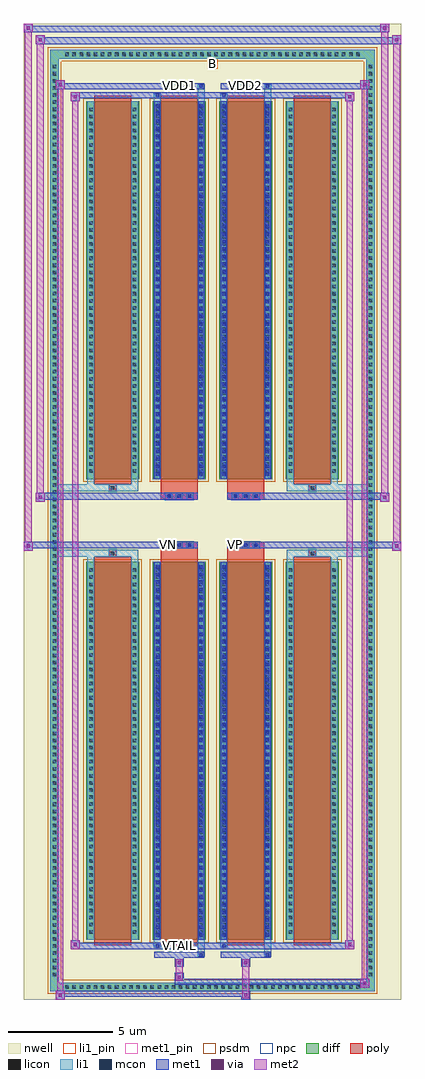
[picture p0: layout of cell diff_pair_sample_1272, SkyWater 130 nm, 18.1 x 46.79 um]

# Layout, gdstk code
import gdstk
lib = gdstk.Library(unit=1e-6, precision=5e-09)
def R(c, l, rs):  # rectangles x0, y0, x1, y1
    for r in rs: c.add(gdstk.rectangle(r[:2], r[2:], *l))
def A(c, l, x, y, w, h, nx, ny, dx, dy):  # array of equal rectangles
    R(c, l, [(x+i*dx, y+j*dy, x+i*dx+w, y+j*dy+h) for i in range(nx) for j in range(ny)])
def P(c, l, *ps):  # polygons
    for p in ps: c.add(gdstk.Polygon(p, *l))
nwell = (64, 20)
diff = (65, 20)
poly = (66, 20)
licon = (66, 44)
li1_pin = (67, 16)
li1 = (67, 20)
mcon = (67, 44)
met1_pin = (68, 16)
met1 = (68, 20)
via = (68, 44)
met2 = (69, 20)
psdm = (94, 20)
npc = (95, 20)

diff_pair_sample_1272 = lib.new_cell('diff_pair_sample_1272')
R(diff_pair_sample_1272, nwell, [(-9.05,-22.96,9.05,23.83), (-6.37,-21.15,-0.01,-0.805), (0.01,-21.15,6.37,-0.805), (-6.37,0.805,-0.01,21.15), (0.01,0.805,6.37,21.15)])
A(diff_pair_sample_1272, diff, -7.175, -22.56, 0.41, 0.41, 42, 2, 0.34, 44.71)
A(diff_pair_sample_1272, diff, -7.78, -21.965, 0.41, 0.41, 1, 129, 0, 0.34)
A(diff_pair_sample_1272, diff, 7.37, -21.965, 0.41, 0.41, 1, 129, 0, 0.34)
A(diff_pair_sample_1272, diff, -6.06, -20.105, 2.55, 18.12, 4, 2, 3.19, 22.09)
R(diff_pair_sample_1272, diff, [(-7.175,-22.56,7.175,-22.15), (-7.78,-21.965,-7.37,21.965), (7.37,-21.965,7.78,21.965), (-7.175,22.15,7.175,22.56)])
P(diff_pair_sample_1272, diff, [(7.78,22.56),(-7.78,22.56),(-7.78,-22.15),(-7.37,-22.15),(-7.37,22.15),(7.37,22.15),(7.37,-22.15),(-7.37,-22.15),(-7.78,-22.15),(-7.78,-22.56),(7.78,-22.56)])
A(diff_pair_sample_1272, poly, -5.67, -20.355, 1.77, 18.62, 4, 2, 3.19, 22.09)
A(diff_pair_sample_1272, poly, -2.26, -1.335, 0.33, 0.33, 3, 2, 0.5, 2.34)
A(diff_pair_sample_1272, poly, 0.93, -1.335, 0.33, 0.33, 3, 2, 0.5, 2.34)
R(diff_pair_sample_1272, poly, [(-4.95,-1.735,-4.62,-1.405), (-4.95,-1.735,-4.62,-1.405), (-2.48,-1.735,-0.71,-1.335), (0.71,-1.735,2.48,-1.335), (4.62,-1.735,4.95,-1.405), (4.62,-1.735,4.95,-1.405), (-2.48,-1.335,-0.71,-1.005), (0.71,-1.335,2.48,-1.005), (-2.48,1.005,-0.71,1.335), (0.71,1.005,2.48,1.335), (-2.48,1.335,-0.71,1.735), (0.71,1.335,2.48,1.735), (-4.95,1.405,-4.62,1.735), (-4.95,1.405,-4.62,1.735), (4.62,1.405,4.95,1.735), (4.62,1.405,4.95,1.735)])
A(diff_pair_sample_1272, licon, -7.055, -22.44, 0.17, 0.17, 42, 2, 0.34, 44.71)
A(diff_pair_sample_1272, licon, -7.66, -21.845, 0.17, 0.17, 1, 129, 0, 0.34)
A(diff_pair_sample_1272, licon, 7.49, -21.845, 0.17, 0.17, 1, 129, 0, 0.34)
A(diff_pair_sample_1272, licon, -5.92, -19.8, 0.17, 0.17, 1, 52, 0, 0.34)
A(diff_pair_sample_1272, licon, -3.82, -19.8, 0.17, 0.17, 1, 52, 0, 0.34)
A(diff_pair_sample_1272, licon, -2.73, -19.8, 0.17, 0.17, 1, 52, 0, 0.34)
A(diff_pair_sample_1272, licon, -0.63, -19.8, 0.17, 0.17, 1, 52, 0, 0.34)
A(diff_pair_sample_1272, licon, 0.46, -19.8, 0.17, 0.17, 1, 52, 0, 0.34)
A(diff_pair_sample_1272, licon, 2.56, -19.8, 0.17, 0.17, 1, 52, 0, 0.34)
A(diff_pair_sample_1272, licon, 3.65, -19.8, 0.17, 0.17, 1, 52, 0, 0.34)
A(diff_pair_sample_1272, licon, 5.75, -19.8, 0.17, 0.17, 1, 52, 0, 0.34)
A(diff_pair_sample_1272, licon, -2.18, -1.255, 0.17, 0.17, 3, 2, 0.5, 2.34)
A(diff_pair_sample_1272, licon, 1.01, -1.255, 0.17, 0.17, 3, 2, 0.5, 2.34)
A(diff_pair_sample_1272, licon, -5.92, 2.29, 0.17, 0.17, 1, 52, 0, 0.34)
A(diff_pair_sample_1272, licon, -3.82, 2.29, 0.17, 0.17, 1, 52, 0, 0.34)
A(diff_pair_sample_1272, licon, -2.73, 2.29, 0.17, 0.17, 1, 52, 0, 0.34)
A(diff_pair_sample_1272, licon, -0.63, 2.29, 0.17, 0.17, 1, 52, 0, 0.34)
A(diff_pair_sample_1272, licon, 0.46, 2.29, 0.17, 0.17, 1, 52, 0, 0.34)
A(diff_pair_sample_1272, licon, 2.56, 2.29, 0.17, 0.17, 1, 52, 0, 0.34)
A(diff_pair_sample_1272, licon, 3.65, 2.29, 0.17, 0.17, 1, 52, 0, 0.34)
A(diff_pair_sample_1272, licon, 5.75, 2.29, 0.17, 0.17, 1, 52, 0, 0.34)
R(diff_pair_sample_1272, licon, [(-4.87,-1.655,-4.7,-1.485), (4.7,-1.655,4.87,-1.485), (-4.87,1.485,-4.7,1.655), (4.7,1.485,4.87,1.655)])
R(diff_pair_sample_1272, li1_pin, [(-0.25,21.65,0.25,22.15)])
A(diff_pair_sample_1272, li1, -7.135, -22.52, 0.33, 0.33, 42, 2, 0.34, 44.71)
A(diff_pair_sample_1272, li1, -7.74, -21.925, 0.33, 0.33, 1, 129, 0, 0.34)
A(diff_pair_sample_1272, li1, 7.41, -21.925, 0.33, 0.33, 1, 129, 0, 0.34)
A(diff_pair_sample_1272, li1, -2.73, -19.95, 0.17, 0.17, 1, 50, 0, 0.36)
A(diff_pair_sample_1272, li1, -0.63, -19.95, 0.17, 0.17, 1, 50, 0, 0.36)
A(diff_pair_sample_1272, li1, 0.46, -19.95, 0.17, 0.17, 1, 50, 0, 0.36)
A(diff_pair_sample_1272, li1, 2.56, -19.95, 0.17, 0.17, 1, 50, 0, 0.36)
A(diff_pair_sample_1272, li1, -6, -19.88, 0.33, 0.33, 1, 52, 0, 0.34)
A(diff_pair_sample_1272, li1, -3.9, -19.88, 0.33, 0.33, 1, 52, 0, 0.34)
A(diff_pair_sample_1272, li1, -2.81, -19.88, 0.33, 0.33, 1, 52, 0, 0.34)
A(diff_pair_sample_1272, li1, -0.71, -19.88, 0.33, 0.33, 1, 52, 0, 0.34)
A(diff_pair_sample_1272, li1, 0.38, -19.88, 0.33, 0.33, 1, 52, 0, 0.34)
A(diff_pair_sample_1272, li1, 2.48, -19.88, 0.33, 0.33, 1, 52, 0, 0.34)
A(diff_pair_sample_1272, li1, 3.57, -19.88, 0.33, 0.33, 1, 52, 0, 0.34)
A(diff_pair_sample_1272, li1, 5.67, -19.88, 0.33, 0.33, 1, 52, 0, 0.34)
A(diff_pair_sample_1272, li1, -2.26, -1.335, 0.33, 0.33, 3, 2, 0.5, 2.34)
A(diff_pair_sample_1272, li1, 0.93, -1.335, 0.33, 0.33, 3, 2, 0.5, 2.34)
A(diff_pair_sample_1272, li1, -2.73, 2.14, 0.17, 0.17, 1, 50, 0, 0.36)
A(diff_pair_sample_1272, li1, -0.63, 2.14, 0.17, 0.17, 1, 50, 0, 0.36)
A(diff_pair_sample_1272, li1, 0.46, 2.14, 0.17, 0.17, 1, 50, 0, 0.36)
A(diff_pair_sample_1272, li1, 2.56, 2.14, 0.17, 0.17, 1, 50, 0, 0.36)
A(diff_pair_sample_1272, li1, -6, 2.21, 0.33, 0.33, 1, 52, 0, 0.34)
A(diff_pair_sample_1272, li1, -3.9, 2.21, 0.33, 0.33, 1, 52, 0, 0.34)
A(diff_pair_sample_1272, li1, -2.81, 2.21, 0.33, 0.33, 1, 52, 0, 0.34)
A(diff_pair_sample_1272, li1, -0.71, 2.21, 0.33, 0.33, 1, 52, 0, 0.34)
A(diff_pair_sample_1272, li1, 0.38, 2.21, 0.33, 0.33, 1, 52, 0, 0.34)
A(diff_pair_sample_1272, li1, 2.48, 2.21, 0.33, 0.33, 1, 52, 0, 0.34)
A(diff_pair_sample_1272, li1, 3.57, 2.21, 0.33, 0.33, 1, 52, 0, 0.34)
A(diff_pair_sample_1272, li1, 5.67, 2.21, 0.33, 0.33, 1, 52, 0, 0.34)
R(diff_pair_sample_1272, li1, [(-7.78,-22.56,-7.37,-22.15), (-7.78,-22.56,-7.37,-22.15), (-7.37,-22.56,7.37,-22.15), (7.37,-22.56,7.78,-22.15), (7.37,-22.56,7.78,-22.15), (-7.78,-22.15,-7.37,22.15), (7.37,-22.15,7.78,22.15), (-0.71,-20.91,-0.38,-20.105), (-0.63,-20.91,-0.46,-20.74), (2.48,-20.91,2.81,-20.105), (2.56,-20.91,2.73,-20.74), (-2.81,-20.48,-2.48,-20.105), (-2.73,-20.48,-2.56,-20.31), (0.38,-20.48,0.71,-20.105), (0.46,-20.48,0.63,-20.31), (-6,-20.105,-5.67,-1.985), (-3.9,-20.105,-3.57,-1.985), (-2.81,-20.105,-2.48,-1.985), (-0.71,-20.105,-0.38,-1.985), (0.38,-20.105,0.71,-1.985), (2.48,-20.105,2.81,-1.985), (3.57,-20.105,3.9,-1.985), (5.67,-20.105,6,-1.985), (-2.73,-19.95,-2.56,-2.14), (-0.63,-19.95,-0.46,-2.14), (0.46,-19.95,0.63,-2.14), (2.56,-19.95,2.73,-2.14), (-6,-1.985,-5.67,-1.405), (-3.9,-1.985,-3.57,-1.405), (3.57,-1.985,3.9,-1.405), (5.67,-1.985,6,-1.405), (-7.78,-1.735,-4.95,-1.405), (-6,-1.735,-4.95,-1.405), (-4.95,-1.735,-4.62,-1.405), (-4.62,-1.735,-3.57,-1.405), (3.57,-1.735,4.62,-1.405), (4.62,-1.735,4.95,-1.405), (4.62,-1.735,7.78,-1.405), (4.95,-1.735,6,-1.405), (-7.78,1.405,-4.95,1.735), (-6,1.405,-4.95,1.735), (-6,1.405,-5.67,1.985), (-4.95,1.405,-4.62,1.735), (-4.62,1.405,-3.57,1.735), (-3.9,1.405,-3.57,1.985), (3.57,1.405,4.62,1.735), (3.57,1.405,3.9,1.985), (4.62,1.405,4.95,1.735), (4.62,1.405,7.78,1.735), (4.95,1.405,6,1.735), (5.67,1.405,6,1.985), (-6,1.985,-5.67,20.105), (-3.9,1.985,-3.57,20.105), (-2.81,1.985,-2.48,20.105), (-0.71,1.985,-0.38,20.105), (0.38,1.985,0.71,20.105), (2.48,1.985,2.81,20.105), (3.57,1.985,3.9,20.105), (5.67,1.985,6,20.105), (-2.73,2.14,-2.56,19.95), (-0.63,2.14,-0.46,19.95), (0.46,2.14,0.63,19.95), (2.56,2.14,2.73,19.95), (-2.81,20.105,-2.48,20.48), (-0.71,20.105,-0.38,20.91), (0.38,20.105,0.71,20.48), (2.48,20.105,2.81,20.91), (-2.73,20.31,-2.56,20.48), (0.46,20.31,0.63,20.48), (-0.63,20.74,-0.46,20.91), (2.56,20.74,2.73,20.91), (-7.78,22.15,-7.37,22.56), (-7.78,22.15,-7.37,22.56), (-7.37,22.15,7.37,22.56), (7.37,22.15,7.78,22.56), (7.37,22.15,7.78,22.56)])
A(diff_pair_sample_1272, mcon, -2.73, -19.95, 0.17, 0.17, 1, 50, 0, 0.36)
A(diff_pair_sample_1272, mcon, -0.63, -19.95, 0.17, 0.17, 1, 50, 0, 0.36)
A(diff_pair_sample_1272, mcon, 0.46, -19.95, 0.17, 0.17, 1, 50, 0, 0.36)
A(diff_pair_sample_1272, mcon, 2.56, -19.95, 0.17, 0.17, 1, 50, 0, 0.36)
A(diff_pair_sample_1272, mcon, -2.18, -1.255, 0.17, 0.17, 3, 2, 0.5, 2.34)
A(diff_pair_sample_1272, mcon, 1.01, -1.255, 0.17, 0.17, 3, 2, 0.5, 2.34)
A(diff_pair_sample_1272, mcon, -2.73, 2.14, 0.17, 0.17, 1, 50, 0, 0.36)
A(diff_pair_sample_1272, mcon, -0.63, 2.14, 0.17, 0.17, 1, 50, 0, 0.36)
A(diff_pair_sample_1272, mcon, 0.46, 2.14, 0.17, 0.17, 1, 50, 0, 0.36)
A(diff_pair_sample_1272, mcon, 2.56, 2.14, 0.17, 0.17, 1, 50, 0, 0.36)
R(diff_pair_sample_1272, mcon, [(-0.63,-20.91,-0.46,-20.74), (2.56,-20.91,2.73,-20.74), (-2.73,-20.48,-2.56,-20.31), (0.46,-20.48,0.63,-20.31), (-2.73,20.31,-2.56,20.48), (0.46,20.31,0.63,20.48), (-0.63,20.74,-0.46,20.91), (2.56,20.74,2.73,20.91)])
R(diff_pair_sample_1272, met1_pin, [(-1.73,-20.52,-1.46,-20.25), (-2.23,-1.295,-1.96,-1.025), (0.96,-1.295,1.23,-1.025), (-1.73,20.7,-1.46,20.97), (1.46,20.7,1.73,20.97)])
A(diff_pair_sample_1272, met1, -2.79, -20.01, 0.29, 0.29, 1, 50, 0, 0.36)
A(diff_pair_sample_1272, met1, -0.69, -20.01, 0.29, 0.29, 1, 50, 0, 0.36)
A(diff_pair_sample_1272, met1, 0.4, -20.01, 0.29, 0.29, 1, 50, 0, 0.36)
A(diff_pair_sample_1272, met1, 2.5, -20.01, 0.29, 0.29, 1, 50, 0, 0.36)
A(diff_pair_sample_1272, met1, -2.24, -1.315, 0.29, 0.29, 3, 2, 0.5, 2.34)
A(diff_pair_sample_1272, met1, 0.95, -1.315, 0.29, 0.29, 3, 2, 0.5, 2.34)
A(diff_pair_sample_1272, met1, -2.79, 2.08, 0.29, 0.29, 1, 50, 0, 0.36)
A(diff_pair_sample_1272, met1, -0.69, 2.08, 0.29, 0.29, 1, 50, 0, 0.36)
A(diff_pair_sample_1272, met1, 0.4, 2.08, 0.29, 0.29, 1, 50, 0, 0.36)
A(diff_pair_sample_1272, met1, 2.5, 2.08, 0.29, 0.29, 1, 50, 0, 0.36)
R(diff_pair_sample_1272, met1, [(-7.51,-22.96,-7.08,-22.53), (1.38,-22.96,1.81,-22.53), (-7.51,-22.82,1.81,-22.53), (7.08,-22.39,7.51,-21.96), (-1.81,-22.25,7.51,-21.96), (-1.81,-22.11,-1.38,-21.68), (-1.81,-21.4,-1.38,-20.97), (1.38,-21.4,1.81,-20.97), (-2.79,-20.97,-0.4,-20.68), (-0.69,-20.97,-0.4,-20.68), (0.4,-20.97,2.79,-20.68), (2.5,-20.97,2.79,-20.68), (-6.8,-20.54,-6.37,-20.11), (-6.8,-20.54,-2.79,-20.25), (-2.79,-20.54,-2.5,-20.25), (-2.79,-20.54,-0.4,-20.25), (-0.4,-20.54,0.4,-20.25), (0.4,-20.54,0.69,-20.25), (0.4,-20.54,2.79,-20.25), (2.79,-20.54,6.8,-20.25), (6.37,-20.54,6.8,-20.11), (-2.79,-20.105,-2.5,-1.985), (-0.69,-20.105,-0.4,-1.985), (0.4,-20.105,0.69,-1.985), (2.5,-20.105,2.79,-1.985), (-9.05,-1.435,-8.62,-1.005), (8.62,-1.435,9.05,-1.005), (-9.05,-1.335,-0.71,-1.005), (-2.48,-1.335,-0.71,-1.005), (0.71,-1.335,2.48,-1.005), (0.71,-1.335,9.05,-1.005), (-8.48,0.905,-8.05,1.335), (8.05,0.905,8.48,1.335), (-8.48,1.005,-2.48,1.335), (-2.48,1.005,-0.71,1.335), (0.71,1.005,2.48,1.335), (2.48,1.005,8.48,1.335), (-2.79,1.985,-2.5,20.105), (-0.69,1.985,-0.4,20.105), (0.4,1.985,0.69,20.105), (2.5,1.985,2.79,20.105), (-6.8,20.11,-6.37,20.54), (6.37,20.11,6.8,20.54), (-6.8,20.25,-2.79,20.54), (-2.79,20.25,-2.5,20.54), (-2.79,20.25,-0.4,20.54), (-0.4,20.25,0.4,20.54), (0.4,20.25,0.69,20.54), (0.4,20.25,2.79,20.54), (2.79,20.25,6.8,20.54), (-7.51,20.68,-7.08,21.11), (-7.51,20.68,-2.79,20.97), (-2.79,20.68,-0.4,20.97), (-0.69,20.68,-0.4,20.97), (0.4,20.68,2.79,20.97), (2.5,20.68,2.79,20.97), (2.79,20.68,7.51,20.97), (7.08,20.68,7.51,21.11), (-8.48,22.83,-8.05,23.26), (-8.48,22.83,-6.37,23.16), (-6.37,22.83,6.37,23.16), (6.37,22.83,9.05,23.16), (8.62,22.83,9.05,23.26), (-9.05,23.4,-8.62,23.83), (-9.05,23.4,-6.37,23.73), (-6.37,23.4,6.37,23.73), (6.37,23.4,8.48,23.73), (8.05,23.4,8.48,23.83)])
R(diff_pair_sample_1272, via, [(-7.37,-22.82,-7.22,-22.67), (1.52,-22.82,1.67,-22.67), (7.22,-22.25,7.37,-22.1), (-1.67,-21.97,-1.52,-21.82), (-1.67,-21.26,-1.52,-21.11), (1.52,-21.26,1.67,-21.11), (-6.66,-20.4,-6.51,-20.25), (6.51,-20.4,6.66,-20.25), (-8.91,-1.295,-8.76,-1.145), (8.76,-1.295,8.91,-1.145), (-8.34,1.045,-8.19,1.195), (8.19,1.045,8.34,1.195), (-6.66,20.25,-6.51,20.4), (6.51,20.25,6.66,20.4), (-7.37,20.82,-7.22,20.97), (7.22,20.82,7.37,20.97), (-8.34,22.97,-8.19,23.12), (8.76,22.97,8.91,23.12), (-8.91,23.54,-8.76,23.69), (8.19,23.54,8.34,23.69)])
R(diff_pair_sample_1272, met2, [(-7.51,-22.96,-7.08,-22.53), (-7.44,-22.96,-7.15,21.11), (-7.15,-22.96,-7.08,-22.53), (-7.46,-22.91,-7.13,-22.58), (1.43,-22.91,1.76,-22.58), (1.43,-22.58,1.76,-21.35), (7.08,-22.39,7.51,-21.96), (7.15,-22.39,7.44,21.11), (7.44,-22.39,7.51,-21.96), (7.13,-22.34,7.46,-22.01), (-1.76,-22.06,-1.43,-21.73), (-1.76,-21.73,-1.43,-21.35), (-1.76,-21.35,-1.43,-21.02), (1.43,-21.35,1.76,-21.02), (-6.8,-20.54,-6.37,-20.11), (-6.73,-20.54,-6.44,20.54), (-6.44,-20.54,-6.37,-20.11), (6.37,-20.54,6.8,-20.11), (6.44,-20.54,6.73,20.54), (6.73,-20.54,6.8,-20.11), (-6.75,-20.49,-6.42,-20.16), (6.42,-20.49,6.75,-20.16), (-9.05,-1.435,-8.62,-1.005), (-9,-1.435,-8.67,23.83), (-8.67,-1.435,-8.62,-1.005), (8.62,-1.435,9.05,-1.005), (8.67,-1.435,9,23.26), (9,-1.435,9.05,-1.005), (-9,-1.385,-8.67,-1.055), (8.67,-1.385,9,-1.055), (-8.48,0.905,-8.05,1.335), (-8.43,0.905,-8.1,23.26), (-8.1,0.905,-8.05,1.335), (8.05,0.905,8.48,1.335), (8.1,0.905,8.43,23.83), (8.43,0.905,8.48,1.335), (-8.43,0.955,-8.1,1.285), (8.1,0.955,8.43,1.285), (-6.8,20.11,-6.37,20.54), (-6.44,20.11,-6.37,20.54), (6.37,20.11,6.8,20.54), (6.73,20.11,6.8,20.54), (-6.75,20.16,-6.42,20.49), (6.42,20.16,6.75,20.49), (-7.51,20.68,-7.08,21.11), (-7.15,20.68,-7.08,21.11), (7.08,20.68,7.51,21.11), (7.44,20.68,7.51,21.11), (-7.46,20.73,-7.13,21.06), (7.13,20.73,7.46,21.06), (-8.48,22.83,-8.05,23.26), (-8.1,22.83,-8.05,23.26), (8.62,22.83,9.05,23.26), (9,22.83,9.05,23.26), (-8.43,22.88,-8.1,23.21), (8.67,22.88,9,23.21), (-9.05,23.4,-8.62,23.83), (-8.67,23.4,-8.62,23.83), (8.05,23.4,8.48,23.83), (8.43,23.4,8.48,23.83), (-9,23.45,-8.67,23.78), (8.1,23.45,8.43,23.78)])
A(diff_pair_sample_1272, psdm, -6.19, -20.235, 2.81, 18.38, 4, 2, 3.19, 22.09)
P(diff_pair_sample_1272, psdm, [(7.91,22.69),(-7.91,22.69),(-7.91,-22.02),(-7.24,-22.02),(-7.24,22.02),(7.24,22.02),(7.24,-22.02),(-7.24,-22.02),(-7.91,-22.02),(-7.91,-22.69),(7.91,-22.69)])
A(diff_pair_sample_1272, npc, -2.28, -1.355, 0.37, 0.37, 3, 2, 0.5, 2.34)
A(diff_pair_sample_1272, npc, 0.91, -1.355, 0.37, 0.37, 3, 2, 0.5, 2.34)
R(diff_pair_sample_1272, npc, [(-4.97,-1.755,-4.6,-1.385), (4.6,-1.755,4.97,-1.385), (-2.28,-1.355,-1.41,-0.985), (-2.28,-1.355,-1.41,-0.985), (-1.78,-1.355,-0.91,-0.985), (-1.78,-1.355,-0.91,-0.985), (0.91,-1.355,1.78,-0.985), (0.91,-1.355,1.78,-0.985), (1.41,-1.355,2.28,-0.985), (1.41,-1.355,2.28,-0.985), (-2.28,0.985,-1.41,1.355), (-2.28,0.985,-1.41,1.355), (-1.78,0.985,-0.91,1.355), (-1.78,0.985,-0.91,1.355), (0.91,0.985,1.78,1.355), (0.91,0.985,1.78,1.355), (1.41,0.985,2.28,1.355), (1.41,0.985,2.28,1.355), (-4.97,1.385,-4.6,1.755), (4.6,1.385,4.97,1.755)])
diff_pair_sample_1272.add(gdstk.Label('VTAIL', (-1.595,-20.385), layer=68, texttype=5))
diff_pair_sample_1272.add(gdstk.Label('VN', (-2.095,-1.16), layer=68, texttype=5))
diff_pair_sample_1272.add(gdstk.Label('VP', (1.095,-1.16), layer=68, texttype=5))
diff_pair_sample_1272.add(gdstk.Label('B', (0,21.9), layer=67, texttype=5))
diff_pair_sample_1272.add(gdstk.Label('VDD2', (1.595,20.835), layer=68, texttype=5))
diff_pair_sample_1272.add(gdstk.Label('VDD1', (-1.595,20.835), layer=68, texttype=5))

lib.write_gds('diff_pair_sample_1272.gds')
